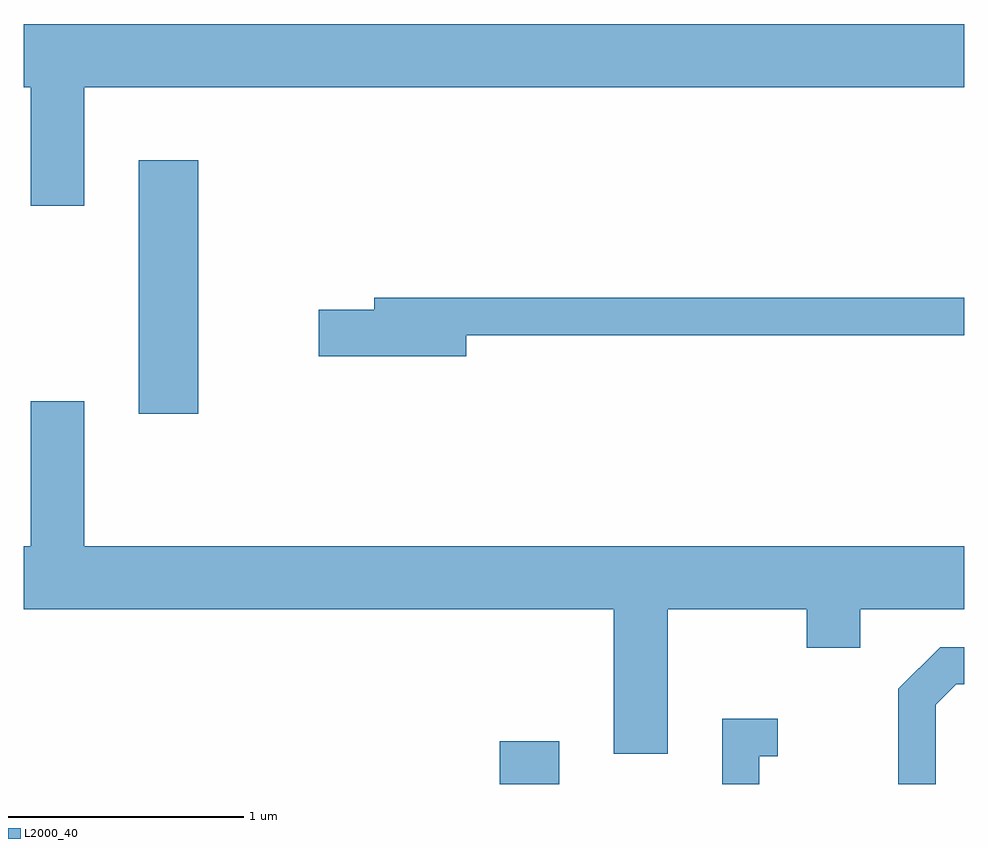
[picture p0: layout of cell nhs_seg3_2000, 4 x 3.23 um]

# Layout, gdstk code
import gdstk
lib = gdstk.Library(unit=1e-6, precision=1e-09)
def R(c, l, rs):  # rectangles x0, y0, x1, y1
    for r in rs: c.add(gdstk.rectangle(r[:2], r[2:], *l))
def P(c, l, *ps):  # polygons
    for p in ps: c.add(gdstk.Polygon(p, *l))
L2000_40 = (2000, 40)

nhs_seg3_2000 = lib.new_cell('nhs_seg3_2000')
R(nhs_seg3_2000, L2000_40, [(245.636,1171.892,245.889,1172.074), (244.101,1173.466,244.354,1174.544)])
P(nhs_seg3_2000, L2000_40, [(243.869,1174.856),(247.611,1174.856),(247.611,1175.124),(243.611,1175.124),(243.611,1174.856),(243.641,1174.856),(243.641,1174.351),(243.869,1174.351)],
  [(245.494,1173.801),(247.611,1173.801),(247.611,1173.959),(245.101,1173.959),(245.101,1173.909),(244.866,1173.909),(244.866,1173.711),(245.494,1173.711)],
  [(243.869,1173.519),(243.641,1173.519),(243.641,1172.904),(243.611,1172.904),(243.611,1172.636),(246.121,1172.636),(246.121,1172.021),(246.349,1172.021),(246.349,1172.636),(246.941,1172.636),(246.941,1172.471),(247.169,1172.471),(247.169,1172.636),(247.611,1172.636),(247.611,1172.904),(243.869,1172.904)],
  [(247.489,1172.229),(247.577,1172.316),(247.611,1172.316),(247.611,1172.474),(247.509,1172.474),(247.331,1172.297),(247.331,1171.892),(247.489,1171.892)],
  [(246.739,1172.011),(246.818,1172.011),(246.818,1172.169),(246.581,1172.169),(246.581,1171.892),(246.739,1171.892)])

lib.write_gds('nhs_seg3_2000.gds')
